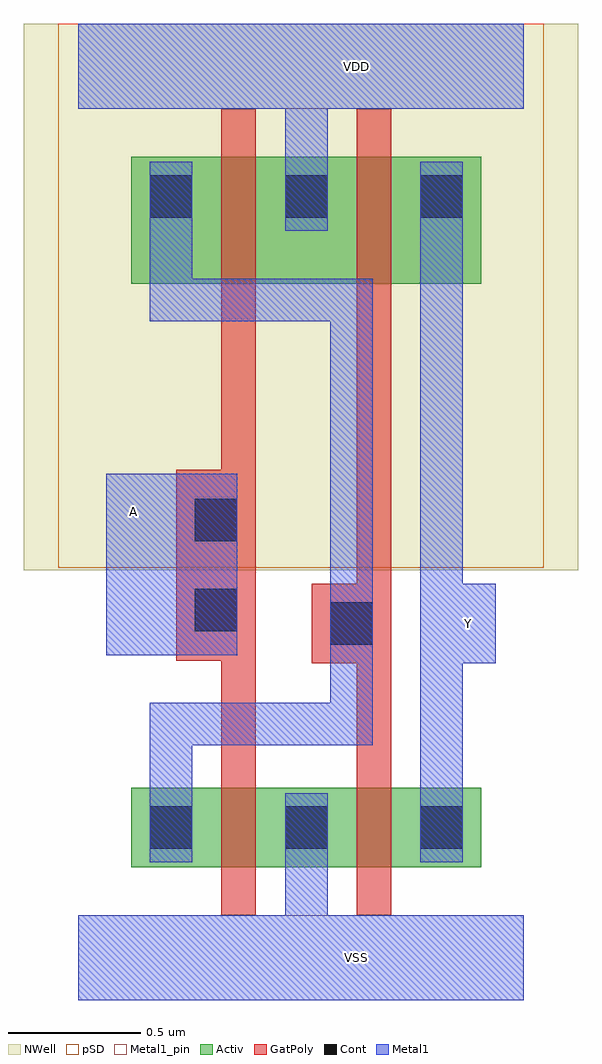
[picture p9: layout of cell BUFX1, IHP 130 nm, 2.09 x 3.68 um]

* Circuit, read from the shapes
.subckt BUFX1 A VDD VSS Y
XM1 VSS A n1 VSUBS sg13_lv_nmos w=0.3u l=0.13u
XM2 Y n1 VSS VSUBS sg13_lv_nmos w=0.3u l=0.13u
XM3 VDD A n1 n2 sg13_lv_pmos w=0.48u l=0.13u
XM4 Y n1 VDD n2 sg13_lv_pmos w=0.48u l=0.13u
.ends

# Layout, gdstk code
import gdstk
lib = gdstk.Library(unit=1e-6, precision=1e-09)
def R(c, l, rs):  # rectangles x0, y0, x1, y1
    for r in rs: c.add(gdstk.rectangle(r[:2], r[2:], *l))
def A(c, l, x, y, w, h, nx, ny, dx, dy):  # array of equal rectangles
    R(c, l, [(x+i*dx, y+j*dy, x+i*dx+w, y+j*dy+h) for i in range(nx) for j in range(ny)])
def P(c, l, *ps):  # polygons
    for p in ps: c.add(gdstk.Polygon(p, *l))
Activ = (1, 0)
GatPoly = (5, 0)
Cont = (6, 0)
Metal1 = (8, 0)
Metal1_pin = (8, 2)
pSD = (14, 0)
NWell = (31, 0)

bufx1 = lib.new_cell('BUFX1')
R(bufx1, Activ, [(0.2,0.34,1.52,0.64), (0.2,2.54,1.52,3.02)])
P(bufx1, GatPoly, [(1.05,0.16),(1.05,1.11),(0.88,1.11),(0.88,1.41),(1.05,1.41),(1.05,3.2),(1.18,3.2),(1.18,0.16)],
  [(0.54,0.16),(0.54,1.12),(0.37,1.12),(0.37,1.84),(0.54,1.84),(0.54,3.2),(0.67,3.2),(0.67,0.16)])
A(bufx1, Cont, 0.27, 0.41, 0.16, 0.16, 3, 2, 0.51, 2.38)
R(bufx1, Cont, [(0.95,1.18,1.11,1.34), (0.44,1.23,0.6,1.39), (0.44,1.57,0.6,1.73)])
R(bufx1, Metal1, [(0.105,1.14,0.6,1.825)])
P(bufx1, Metal1, [(0.78,2.74),(0.78,3.2),(0,3.2),(0,3.52),(1.68,3.52),(1.68,3.2),(0.94,3.2),(0.94,2.74)],
  [(1.29,0.36),(1.29,3),(1.45,3),(1.45,1.41),(1.575,1.41),(1.575,1.11),(1.45,1.11),(1.45,0.36)],
  [(0.27,0.36),(0.27,0.96),(0.95,0.96),(0.95,2.4),(0.27,2.4),(0.27,3),(0.43,3),(0.43,2.56),(1.11,2.56),(1.11,0.8),(0.43,0.8),(0.43,0.36)],
  [(0,-0.16),(0,0.16),(0.78,0.16),(0.78,0.62),(0.94,0.62),(0.94,0.16),(1.68,0.16),(1.68,-0.16)])
R(bufx1, Metal1_pin, [(0,-0.16,1.68,0.16), (0.105,1.14,0.6,1.825), (0,3.2,1.68,3.52)])
P(bufx1, Metal1_pin, [(1.29,0.36),(1.29,3),(1.45,3),(1.45,1.41),(1.575,1.41),(1.575,1.11),(1.45,1.11),(1.45,0.36)])
R(bufx1, pSD, [(-0.075,1.47,1.755,3.52)])
R(bufx1, NWell, [(-0.205,1.46,1.885,3.52)])
bufx1.add(gdstk.Label('VDD', (1.05,3.36), layer=8, texttype=25))
bufx1.add(gdstk.Label('VSS', (1.05,0), layer=8, texttype=25))
bufx1.add(gdstk.Label('Y', (1.47,1.26), layer=8, texttype=25))
bufx1.add(gdstk.Label('A', (0.21,1.68), layer=8, texttype=25))

lib.write_gds('BUFX1.gds')
